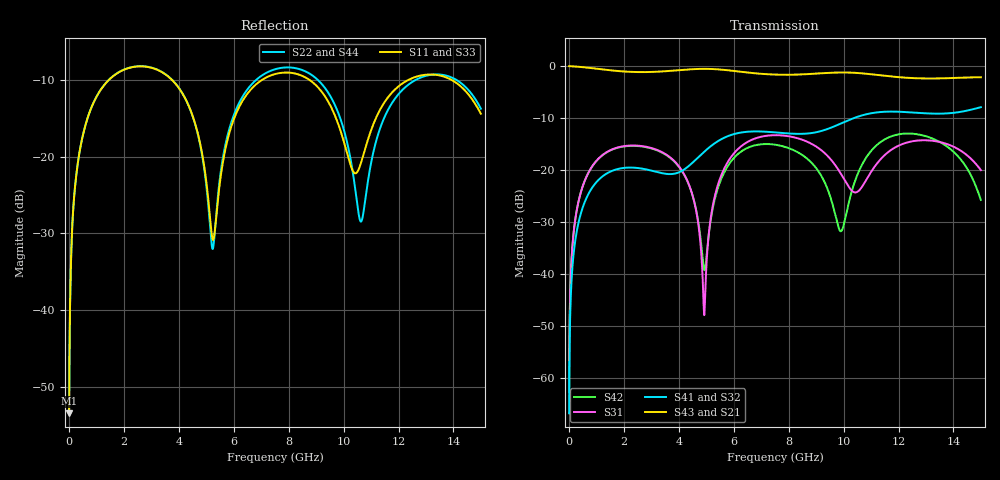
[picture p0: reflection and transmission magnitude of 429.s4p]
! Created with skrf 1.8.0 (http://scikit-rf.org).
# GHz S RI R 50.0
!freq ReS11 ImS11 ReS12 ImS12 ReS13 ImS13
! ReS14 ImS14
! ReS21 ImS21 ReS22 ImS22 ReS23 ImS23
! ReS24 ImS24
! ReS31 ImS31 ReS32 ImS32 ReS33 ImS33
! ReS34 ImS34
! ReS41 ImS41 ReS42 ImS42 ReS43 ImS43
! ReS44 ImS44
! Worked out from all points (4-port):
!   2499 points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, 5 MHz to 15 GHz, reference 50 ohm
!   strongest paths, dB at 5 MHz, 3.476 GHz, 7.19 GHz, 11.1 GHz, 15 GHz:
!     S43: 0.0, -1.0, -1.6, -1.6, -2.2
!     S21: 0.0, -1.0, -1.6, -1.6, -2.2
!     S41: -66.7, -20.7, -12.6, -9.0, -7.9
!     S32: -66.7, -20.8, -12.7, -9.0, -7.9
!     S31: -62.6, -16.8, -13.4, -19.6, -20.0
!     S42: -62.6, -16.9, -15.0, -15.7, -25.7
!   lowest |S11| = -53.4 dB at 5 MHz (marker M1), VSWR 1.00, Z = 50.2 + j0.129 ohm
!   |S11| at or under -10 dB: start of sweep to 1.461 GHz; 3.742 GHz to 7.043 GHz (3.3 GHz wide, 61.2 % of centre); 8.745 GHz to 12.38 GHz (3.631 GHz wide, 34.4 % of centre) (the widest 3 of 4)
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0.005  0.00171 0.00129  0.9983 -0.00332  8.8e-05 0.000735  -8.51e-05 -0.000452
       0.9983 -0.00332  0.00171 0.00129  -8.51e-05 -0.000452  8.79e-05 0.000735
       8.8e-05 0.000735  -8.51e-05 -0.000452  0.00171 0.00129  0.9983 -0.00332
       -8.51e-05 -0.000452  8.79e-05 0.000735  0.9983 -0.00332  0.00171 0.00129
0.3626511  0.0324 0.0961  0.9552 -0.2372  0.0168 0.0493  -0.0137 -0.0296
           0.9552 -0.2372  0.0324 0.0961  -0.0136 -0.0296  0.0165 0.0494
           0.0168 0.0493  -0.0136 -0.0296  0.0324 0.0961  0.9552 -0.2372
           -0.0137 -0.0296  0.0165 0.0494  0.9552 -0.2372  0.0324 0.0961
1.619545  0.292 0.1635  0.4924 -0.7589  0.1495 0.0575  -0.0995 0.00465
          0.4924 -0.7589  0.2932 0.1625  -0.0992 0.00423  0.1471 0.0612
          0.1495 0.0575  -0.0992 0.00423  0.2922 0.1633  0.4924 -0.7589
          -0.0995 0.00465  0.1471 0.0612  0.4924 -0.7589  0.293 0.1627
4.927053  0.0423 -0.0748  -0.9035 -0.2623  0.00403 7.98e-05  -0.0347 0.1464
          -0.9035 -0.2623  0.0378 -0.0738  -0.04 0.145  -0.0107 -0.00221
          0.00403 7.98e-05  -0.04 0.145  0.0408 -0.0752  -0.9035 -0.2625
          -0.0347 0.1464  -0.0107 -0.00221  -0.9035 -0.2625  0.0394 -0.0733
8.153397  0.3483 -0.0224  -0.00745 0.8262  0.1561 -0.1372  0.2115 -0.0734
          -0.00745 0.8262  0.3746 -0.0522  0.2113 -0.0607  0.152 -0.0382
          0.1561 -0.1372  0.2113 -0.0607  0.3489 -0.026  -0.00773 0.8268
          0.2115 -0.0734  0.152 -0.0382  -0.00773 0.8268  0.371 -0.0498
10.89204  0.1029 0.079  0.8398 -0.0425  0.003 0.0862  -0.0477 -0.3441
          0.8398 -0.0425  0.0515 0.0475  -0.0234 -0.3465  0.0939 0.1043
          0.003 0.0862  -0.0234 -0.3465  0.0966 0.0853  0.8397 -0.043
          -0.0477 -0.3441  0.0939 0.1043  0.8397 -0.043  0.0555 0.0477
15  0.1623 -0.0987  -0.5544 -0.5487  -0.0621 -0.0784  -0.2586 0.309
    -0.5544 -0.5487  0.1582 -0.13  -0.2907 0.2787  -0.0318 -0.0408
    -0.0621 -0.0784  -0.2907 0.2787  0.1517 -0.1057  -0.5541 -0.5498
    -0.2586 0.309  -0.0318 -0.0408  -0.5541 -0.5498  0.1648 -0.1212
